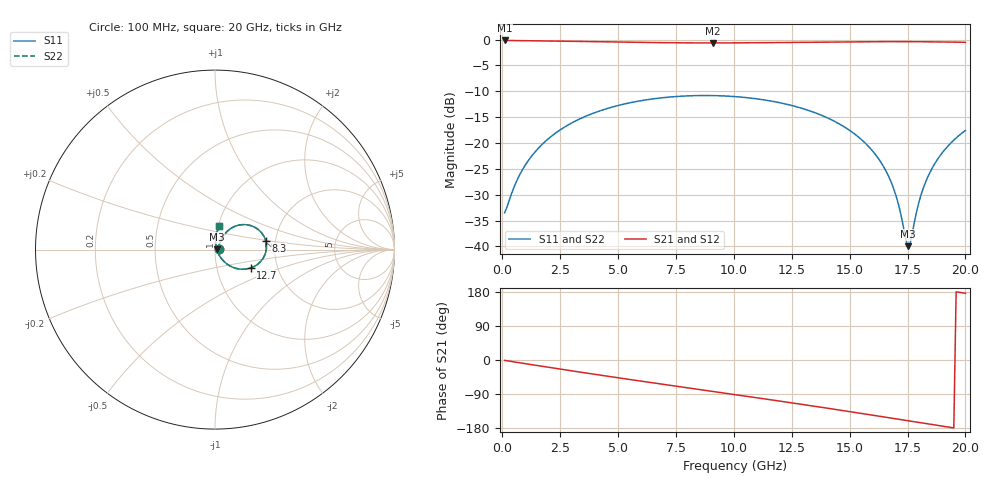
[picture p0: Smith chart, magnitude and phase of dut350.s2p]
! Touchstone file exported from HFSS 2026.1.0
!  File:  C:/ffzhzh/LocalFiles/Ansys_Project_Files/temp_train_TSV_RDL_350_1783036545_51716.aedt
!  Generated:  08:07:58 AM Jul  3, 2026
!  Design:  TSV_RDL
!  Project:  temp_train_TSV_RDL_350_1783036545_51716
! Variables:
!  h_bsmrdl = 2.15um
!  h_ox = 20um
!  h_rdl = 5um
!  h_sub = 94.37um
!  h_tmrdl = 3.62um
!  h_tsv = 94.37um
!  h_via = 3um
!  l_bsmrdl = 313.94um
!  l_sub = 2377.78um
!  l_tmrdl = 239.64um
!  m_sub = 200um
!  pitch = 34.62um
!  r_tsv = 13um
!  s_tmrdl = 10um
!  w_bsmrdl = 13.52um
!  w_sub = 500um
!  w_tmrdl = 12.28um
!  x_tsv_center1 = 245.78um
!  x_tsv_center2 = 573.24um
!  x_tsv_center3 = 825.16um
!  x_tsv_center4 = 1152.62um
!  x_tsv_center5 = 1404.54um
!  x_tsv_center6 = 1732um
# GHz S MA R 50.000000
! Terminal data exported
! Port[1] = TM_RDL1_1_T1
! Port[2] = TM_RDL5_1_T1
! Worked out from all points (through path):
!   200 points, 100 MHz to 20 GHz, reference 50 ohm
!   highest |S21| = -0.18 dB at 100 MHz (marker M1); lowest = -0.7 dB at 9.1 GHz (marker M2)
!   group delay of S21, straight-line fit = 25.2 ps
!   lowest |S11| = -40.0 dB at 17.5 GHz (marker M3), VSWR 1.02, Z = 51 + j0.0686 ohm
!   |S11| at or under -10 dB: start of sweep to end of sweep
!   |S22| runs from -40.0 to -10.8 dB; largest |S21 - S12| = 4.7e-14
!   S11 on the Smith chart (normalised r, x): 100 MHz: 1.04, +0.01; 8.3 GHz: 1.78, +0.18; 12.7 GHz: 1.46, -0.31; 20 GHz: 1.02, +0.27
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0.1  0.02113 16.2  0.9798 -1.0  0.9798 -1.0  0.02113 16.2
! Gamma 0 0 0 0
! Port Impedance 50 0 50 0
0.7  0.04674 53.8  0.9762 -6.9  0.9762 -6.9  0.04674 53.8
1.4  0.08118 58.8  0.9721 -13.6  0.9721 -13.6  0.08118 58.8
2.3  0.1246 56.0  0.9665 -22.1  0.9665 -22.1  0.1246 56.0
3.5  0.1772 48.2  0.9573 -33.3  0.9573 -33.3  0.1772 48.2
6.8  0.2719 21.9  0.9333 -62.9  0.9333 -62.9  0.2719 21.9
8.3  0.2868 9.6  0.9281 -76.0  0.9281 -76.0  0.2868 9.6
9.1  0.2872 3.0  0.9274 -83.0  0.9274 -83.0  0.2871 3.0
10.1  0.2802 -5.3  0.9286 -91.7  0.9286 -91.7  0.2802 -5.3
12.7  0.2241 -27.1  0.9396 -114.9  0.9396 -114.9  0.224 -27.1
13.4  0.2 -33.0  0.9435 -121.3  0.9435 -121.3  0.1999 -33.0
15.4  0.1133 -49.0  0.9528 -140.0  0.9528 -140.0  0.1132 -49.0
16.1  0.07807 -53.2  0.9545 -146.6  0.9545 -146.6  0.07803 -53.2
16.7  0.04677 -53.9  0.9549 -152.4  0.9549 -152.4  0.04672 -54.0
17.1  0.02601 -47.6  0.9547 -156.2  0.9547 -156.2  0.02594 -47.7
17.5  0.01005 3.8  0.954 -160.1  0.954 -160.1  0.009965 4.0
17.6  0.01034 34.1  0.9538 -161.0  0.9538 -161.0  0.01028 34.5
17.9  0.02208 76.4  0.9529 -163.9  0.9529 -163.9  0.02208 76.7
18.1  0.0323 83.3  0.9521 -165.8  0.9521 -165.8  0.03232 83.4
18.5  0.05359 86.7  0.9503 -169.7  0.9503 -169.7  0.05362 86.7
19.1  0.08564 85.0  0.9468 -175.4  0.9468 -175.4  0.08567 85.1
20  0.1321 79.1  0.94 176.1  0.94 176.1  0.1322 79.1
